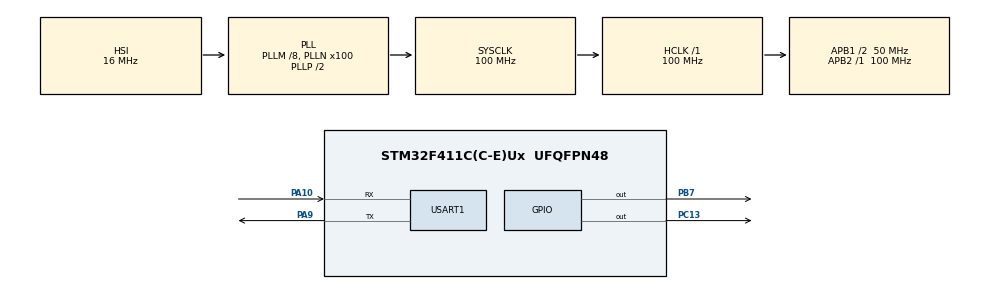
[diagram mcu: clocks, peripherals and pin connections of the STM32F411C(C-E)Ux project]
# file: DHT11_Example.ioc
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Mcu.Family=STM32F4
Mcu.Name=STM32F411C(C-E)Ux
Mcu.Package=UFQFPN48
NVIC.PriorityGroup=NVIC_PRIORITYGROUP_4
PA10.Mode=Asynchronous
PA10.Signal=USART1_RX
PA13.Mode=Serial_Wire
PA13.Signal=SYS_JTMS-SWDIO
PA14.Mode=Serial_Wire
PA14.Signal=SYS_JTCK-SWCLK
PA9.Mode=Asynchronous
PA9.Signal=USART1_TX
PB7.GPIO_ModeDefaultOutputPP=GPIO_MODE_OUTPUT_PP
PB7.GPIO_PuPd=GPIO_PULLUP
PB7.Signal=GPIO_Output
PC13-ANTI_TAMP.Signal=GPIO_Output
PH0\ -\ OSC_IN.Mode=HSE-External-Oscillator
PH0\ -\ OSC_IN.Signal=RCC_OSC_IN
PH1\ -\ OSC_OUT.Mode=HSE-External-Oscillator
PH1\ -\ OSC_OUT.Signal=RCC_OSC_OUT
ProjectManager.HeapSize=0x200
ProjectManager.StackSize=0x400
ProjectManager.TargetToolchain=STM32CubeIDE
RCC.48MHZClocksFreq_Value=50000000
RCC.AHBFreq_Value=100000000
RCC.APB1CLKDivider=RCC_HCLK_DIV2
RCC.APB1Freq_Value=50000000
RCC.APB1TimFreq_Value=100000000
RCC.APB2Freq_Value=100000000
RCC.APB2TimFreq_Value=100000000
RCC.CortexFreq_Value=100000000
RCC.HCLKFreq_Value=100000000
RCC.HSE_VALUE=25000000
RCC.HSI_VALUE=16000000
RCC.LSE_VALUE=32768
RCC.PLLM=8
RCC.PLLN=100
RCC.SYSCLKFreq_VALUE=100000000
RCC.SYSCLKSource=RCC_SYSCLKSOURCE_PLLCLK
RCC.VCOOutputFreq_Value=200000000
TIM2.Period=0xFFFFFFFF
TIM2.Prescaler=99
USART1.VirtualMode=VM_ASYNC
VP_TIM2_VS_ClockSourceINT.Mode=Internal
board=custom

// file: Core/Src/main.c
/* USER CODE BEGIN Header */
/**
  ******************************************************************************
  * @file           : main.c
  * @brief          : Main program body
  ******************************************************************************
  * @attention
  *
  * Copyright (c) 2026 STMicroelectronics.
  * All rights reserved.
  *
  * This software is licensed under terms that can be found in the LICENSE file
  * in the root directory of this software component.
  * If no LICENSE file comes with this software, it is provided AS-IS.
  *
  ******************************************************************************
  */
/* USER CODE END Header */
#include "main.h"

/* USER CODE BEGIN Includes */
#include "DHT11.h"
#include "ANSII_Codes.h"
#include <stdio.h>
#include <math.h>
/* USER CODE END Includes */

/* USER CODE BEGIN PD */
/* -- Conexión del sensor -- */
#define DHT_PUERTO          GPIOB
#define DHT_PIN             GPIO_PIN_7     /**< Pin de datos del DHT11 */
#define DHT_PIN_LIBRE       GPIO_PIN_14     /**< Pin SIN conectar: el test de timeout lo usa como "sensor ausente" */

/* -- Parámetros de la batería de pruebas -- */
#define DHT_ARRANQUE_MS     1000U      /**< El DHT11 necesita ~1 s tras alimentarse antes de la primera lectura */
#define DHT_PERIODO_MS      DHT11_MIN_INTERVAL_MS  /**< Entre lecturas: por debajo, Get devuelve la caché sin tocar el bus */
#define DHT_MUESTRAS        10U        /**< Lecturas seguidas del test de muestras */
#define DHT_SENTINEL        1000.0f    /**< Fuera de escala: delata campos que Get no escribió */

/* Rango de funcionamiento del DHT11 según datasheet (temperatura: DHT11 nuevos con bit de signo) */
#define DHT_TEMP_MIN        -20.0f
#define DHT_TEMP_MAX        60.0f
#define DHT_HUM_MIN         20.0f
#define DHT_HUM_MAX         90.0f

/* Variación máxima entre dos lecturas separadas DHT_PERIODO_MS (el ambiente cambia despacio);
 * subir si la habitación tiene corrientes de aire o se sopla sobre el sensor */
#define DHT_TEMP_RUIDO      2.0f       /**< [°C] */
#define DHT_HUM_RUIDO       5.0f       /**< [%HR] */
/* USER CODE END PD */

/* USER CODE BEGIN PM */
#define DHT_CHECK(x)  do { if ((x) != DHT11_OK) { Error_Handler(); } } while (0)
/* Para los tests de error: la llamada debe devolver exactamente el estado esperado */
#define DHT_EXPECT(x, st)  do { if ((x) != (st)) { Error_Handler(); } } while (0)

/* USER CODE END PM */

TIM_HandleTypeDef htim2;

UART_HandleTypeDef huart1;

/* USER CODE BEGIN PV */
DHT11_Status_t status;
/* USER CODE END PV */

void SystemClock_Config(void);
static void MX_GPIO_Init(void);
static void MX_USART1_UART_Init(void);
static void MX_TIM2_Init(void);
/* USER CODE BEGIN PFP */
static void DHT11_Centinela(DHT11_Data_t* m);
static void DHT11_Leer(DHT11_Data_t* m);
static void DHT11_CheckSinTocar(const DHT11_Data_t* m);
static void DHT11_Print(const DHT11_Data_t* m);
static void DHT11_TestSuite(void);
static void DHT11_TestPreInit(void);
static void DHT11_TestLectura(void);
static void DHT11_TestMuestras(void);
static void DHT11_TestErrores(void);
static void DHT11_TestTimeout(void);
static void DHT11_TestDeInit(void);
/* USER CODE END PFP */

int main(void)
{

  /* MCU Configuration--------------------------------------------------------*/

  /* Reset of all peripherals, Initializes the Flash interface and the Systick. */
  HAL_Init();

  /* Configure the system clock */
  SystemClock_Config();

  /* Initialize all configured peripherals */
  MX_GPIO_Init();
  MX_USART1_UART_Init();
  MX_TIM2_Init();
  /* USER CODE BEGIN 2 */
  printf(CLEAR_SCREEN CURSOR_HOME COLOR_BOLD COLOR_CYAN "DHT11 TEST" COLOR_RESET "\r\n");
  DHT11_TestPreInit();

  /* La librería arranca el TIM2 (1 MHz, 1 us por cuenta) si aún no está en marcha */
  status = DHT11_Init(&htim2, DHT_PUERTO, DHT_PIN);
  if(status != DHT11_OK)
  {
	  Error_Handler();
  }
  else
  {
	  HAL_GPIO_WritePin(GPIOC, GPIO_PIN_13, GPIO_PIN_RESET);
  }
  HAL_Delay(DHT_ARRANQUE_MS);
  /* USER CODE END 2 */

  /* Infinite loop */
  /* USER CODE BEGIN WHILE */
  while (1)
  {
	  DHT11_TestSuite();
    /* USER CODE END WHILE */

  }
}

void SystemClock_Config(void)
{
  RCC_OscInitTypeDef RCC_OscInitStruct = {0};
  RCC_ClkInitTypeDef RCC_ClkInitStruct = {0};

  /** Configure the main internal regulator output voltage
  */
  __HAL_RCC_PWR_CLK_ENABLE();
  __HAL_PWR_VOLTAGESCALING_CONFIG(PWR_REGULATOR_VOLTAGE_SCALE1);

  /** Initializes the RCC Oscillators according to the specified parameters
  * in the RCC_OscInitTypeDef structure.
  */
  RCC_OscInitStruct.OscillatorType = RCC_OSCILLATORTYPE_HSI;
  RCC_OscInitStruct.HSIState = RCC_HSI_ON;
  RCC_OscInitStruct.HSICalibrationValue = RCC_HSICALIBRATION_DEFAULT;
  RCC_OscInitStruct.PLL.PLLState = RCC_PLL_ON;
  RCC_OscInitStruct.PLL.PLLSource = RCC_PLLSOURCE_HSI;
  RCC_OscInitStruct.PLL.PLLM = 8;
  RCC_OscInitStruct.PLL.PLLN = 100;
  RCC_OscInitStruct.PLL.PLLP = RCC_PLLP_DIV2;
  RCC_OscInitStruct.PLL.PLLQ = 4;
  if (HAL_RCC_OscConfig(&RCC_OscInitStruct) != HAL_OK)
  {
    Error_Handler();
  }

  /** Initializes the CPU, AHB and APB buses clocks
  */
  RCC_ClkInitStruct.ClockType = RCC_CLOCKTYPE_HCLK|RCC_CLOCKTYPE_SYSCLK
                              |RCC_CLOCKTYPE_PCLK1|RCC_CLOCKTYPE_PCLK2;
  RCC_ClkInitStruct.SYSCLKSource = RCC_SYSCLKSOURCE_PLLCLK;
  RCC_ClkInitStruct.AHBCLKDivider = RCC_SYSCLK_DIV1;
  RCC_ClkInitStruct.APB1CLKDivider = RCC_HCLK_DIV2;
  RCC_ClkInitStruct.APB2CLKDivider = RCC_HCLK_DIV1;

  if (HAL_RCC_ClockConfig(&RCC_ClkInitStruct, FLASH_LATENCY_3) != HAL_OK)
  {
    Error_Handler();
  }
}

static void MX_TIM2_Init(void)
{

  TIM_ClockConfigTypeDef sClockSourceConfig = {0};
  TIM_MasterConfigTypeDef sMasterConfig = {0};

  htim2.Instance = TIM2;
  htim2.Init.Prescaler = 99;
  htim2.Init.CounterMode = TIM_COUNTERMODE_UP;
  htim2.Init.Period = 0xFFFFFFFF;
  htim2.Init.ClockDivision = TIM_CLOCKDIVISION_DIV1;
  htim2.Init.AutoReloadPreload = TIM_AUTORELOAD_PRELOAD_DISABLE;
  if (HAL_TIM_Base_Init(&htim2) != HAL_OK)
  {
    Error_Handler();
  }
  sClockSourceConfig.ClockSource = TIM_CLOCKSOURCE_INTERNAL;
  if (HAL_TIM_ConfigClockSource(&htim2, &sClockSourceConfig) != HAL_OK)
  {
    Error_Handler();
  }
  sMasterConfig.MasterOutputTrigger = TIM_TRGO_RESET;
  sMasterConfig.MasterSlaveMode = TIM_MASTERSLAVEMODE_DISABLE;
  if (HAL_TIMEx_MasterConfigSynchronization(&htim2, &sMasterConfig) != HAL_OK)
  {
    Error_Handler();
  }

}

static void MX_USART1_UART_Init(void)
{

  huart1.Instance = USART1;
  huart1.Init.BaudRate = 115200;
  huart1.Init.WordLength = UART_WORDLENGTH_8B;
  huart1.Init.StopBits = UART_STOPBITS_1;
  huart1.Init.Parity = UART_PARITY_NONE;
  huart1.Init.Mode = UART_MODE_TX_RX;
  huart1.Init.HwFlowCtl = UART_HWCONTROL_NONE;
  huart1.Init.OverSampling = UART_OVERSAMPLING_16;
  if (HAL_UART_Init(&huart1) != HAL_OK)
  {
    Error_Handler();
  }

}

static void MX_GPIO_Init(void)
{
  GPIO_InitTypeDef GPIO_InitStruct = {0};

  /* GPIO Ports Clock Enable */
  __HAL_RCC_GPIOC_CLK_ENABLE();
  __HAL_RCC_GPIOH_CLK_ENABLE();
  __HAL_RCC_GPIOA_CLK_ENABLE();
  __HAL_RCC_GPIOB_CLK_ENABLE();

  /*Configure GPIO pin Output Level */
  HAL_GPIO_WritePin(GPIOC, GPIO_PIN_13, GPIO_PIN_RESET);

  /*Configure GPIO pin Output Level */
  HAL_GPIO_WritePin(GPIOB, GPIO_PIN_7, GPIO_PIN_RESET);

  /*Configure GPIO pin : PC13 */
  GPIO_InitStruct.Pin = GPIO_PIN_13;
  GPIO_InitStruct.Mode = GPIO_MODE_OUTPUT_PP;
  GPIO_InitStruct.Pull = GPIO_NOPULL;
  GPIO_InitStruct.Speed = GPIO_SPEED_FREQ_LOW;
  HAL_GPIO_Init(GPIOC, &GPIO_InitStruct);

  /*Configure GPIO pin : PB7 */
  GPIO_InitStruct.Pin = GPIO_PIN_7;
  GPIO_InitStruct.Mode = GPIO_MODE_OUTPUT_PP;
  GPIO_InitStruct.Pull = GPIO_PULLUP;
  GPIO_InitStruct.Speed = GPIO_SPEED_FREQ_LOW;
  HAL_GPIO_Init(GPIOB, &GPIO_InitStruct);

}

/* USER CODE BEGIN 4 */

/* printf por USART1 (PA9): syscalls.c redirige _write a esta función débil */
int __io_putchar(int ch)
{
	uint8_t c = (uint8_t)ch;
	HAL_UART_Transmit(&huart1, &c, 1, HAL_MAX_DELAY);
	return ch;
}

/* Rellena la muestra con el centinela para detectar campos que Get no escribió */
static void DHT11_Centinela(DHT11_Data_t* m)
{
	m->temperatura = DHT_SENTINEL;
	m->humedad    = DHT_SENTINEL;
}

/* Lectura completa: debe ir bien, escribir los dos campos y dar valores dentro del rango del
 * sensor. Se escribe como !(v >= min && v <= max) para que un NaN también falle */
static void DHT11_Leer(DHT11_Data_t* m)
{
	DHT11_Centinela(m);
	DHT_CHECK(DHT11_Get(m));

	if (!(m->temperatura >= DHT_TEMP_MIN && m->temperatura <= DHT_TEMP_MAX) ||
		!(m->humedad    >= DHT_HUM_MIN  && m->humedad    <= DHT_HUM_MAX))
	{
		Error_Handler();
	}
}

/* Tras un Get rechazado la muestra debe seguir intacta */
static void DHT11_CheckSinTocar(const DHT11_Data_t* m)
{
	if (m->temperatura != DHT_SENTINEL || m->humedad != DHT_SENTINEL)
	{
		Error_Handler();
	}
}

/* El proyecto no enlaza -u _printf_float: se imprime en décimas con enteros
 * (el DHT11 resuelve 0.1; la temperatura puede ser negativa, la humedad no) */
static void DHT11_Print(const DHT11_Data_t* m)
{
	const uint32_t t = (uint32_t)(fabsf(m->temperatura) * 10.0f + 0.5f);
	const uint32_t h = (uint32_t)(m->humedad * 10.0f + 0.5f);

	printf("T=%s%lu.%lu C  H=%lu.%lu %%\r\n", (m->temperatura < 0.0f) ? "-" : "",
		   t / 10, t % 10, h / 10, h % 10);
}

static void DHT11_TestSuite(void)
{
	DHT11_TestLectura();
	HAL_Delay(DHT_PERIODO_MS);

	DHT11_TestMuestras();
	HAL_Delay(DHT_PERIODO_MS);

	DHT11_TestErrores();
	HAL_Delay(DHT_PERIODO_MS);

	DHT11_TestTimeout();
	HAL_Delay(DHT_PERIODO_MS);

	DHT11_TestDeInit();
	HAL_Delay(DHT_PERIODO_MS);
}

static void DHT11_TestPreInit(void)
{
	DHT11_Data_t m;

	/* -- Antes de Init: Get devuelve NOT_INITIALIZED sin tocar el bus ni la muestra
	 *    (aunque el puntero sea NULL: la comprobación de inicialización va primero) -- */
	DHT11_Centinela(&m);
	DHT_EXPECT(DHT11_Get(&m), DHT11_NOT_INITIALIZED);
	DHT_EXPECT(DHT11_Get(NULL), DHT11_NOT_INITIALIZED);
	DHT11_CheckSinTocar(&m);
}

static void DHT11_TestLectura(void)
{
	DHT11_Data_t m;

	/* -- Lectura única: temperatura y humedad dentro del rango del DHT11 -- */
	printf(COLOR_YELLOW "[Lectura]" COLOR_RESET "\r\n");
	DHT11_Leer(&m);
	DHT11_Print(&m);

	/* -- Get inmediato (< DHT11_MIN_INTERVAL_MS): no toca el bus, devuelve al instante
	 *    la misma medición guardada -- */
	DHT11_Data_t r;
	const uint32_t t0 = HAL_GetTick();
	DHT11_Leer(&r);
	if (r.temperatura != m.temperatura || r.humedad != m.humedad || HAL_GetTick() - t0 > 1U)
	{
		Error_Handler();
	}
}

static void DHT11_TestMuestras(void)
{
	DHT11_Data_t m, ant = {0};

	/* -- Lecturas seguidas cada DHT_PERIODO_MS: ninguna debe fallar (checksum incluido) y
	 *    entre dos consecutivas el ambiente no puede haber cambiado más que el ruido tolerado.
	 *    Un soplido sobre el sensor sube la humedad: no lo hagas durante el test -- */
	printf(COLOR_YELLOW "[Muestras]" COLOR_RESET "\r\n");
	for (uint8_t i = 1; i <= DHT_MUESTRAS; i++)
	{
		DHT11_Leer(&m);
		if (i > 1 && (fabsf(m.temperatura - ant.temperatura) > DHT_TEMP_RUIDO ||
					  fabsf(m.humedad - ant.humedad) > DHT_HUM_RUIDO))
		{
			Error_Handler();
		}
		printf("%2u/%u  ", i, DHT_MUESTRAS);
		DHT11_Print(&m);
		ant = m;
		HAL_Delay(DHT_PERIODO_MS);
	}
}

static void DHT11_TestErrores(void)
{
	DHT11_Data_t m;
	TIM_HandleTypeDef sin_instancia = {0};

	/* -- Puntero de salida NULL, y Init con timer, instancia, puerto NULL o pin 0: se rechazan
	 *    con INVALID_PARAM sin tocar el bus ni la configuración vigente -- */
	printf(COLOR_YELLOW "[Errores]" COLOR_RESET "\r\n");
	DHT11_Centinela(&m);
	DHT_EXPECT(DHT11_Get(NULL), DHT11_INVALID_PARAM);
	DHT_EXPECT(DHT11_Init(NULL, DHT_PUERTO, DHT_PIN), DHT11_INVALID_PARAM);
	DHT_EXPECT(DHT11_Init(&sin_instancia, DHT_PUERTO, DHT_PIN), DHT11_INVALID_PARAM);
	DHT_EXPECT(DHT11_Init(&htim2, NULL, DHT_PIN), DHT11_INVALID_PARAM);
	DHT_EXPECT(DHT11_Init(&htim2, DHT_PUERTO, 0U), DHT11_INVALID_PARAM);
	DHT11_CheckSinTocar(&m);

	/* El driver conserva la configuración anterior y sigue leyendo */
	DHT11_Leer(&m);
	printf(COLOR_GREEN "Errores OK" COLOR_RESET "\r\n");
}

static void DHT11_TestTimeout(void)
{
	DHT11_Data_t m;

	/* -- Sensor ausente: apuntando a un pin libre (pull-up, siempre en alto) el sensor nunca
	 *    responde y Get debe agotar el tiempo con TIMEOUT sin escribir la muestra.
	 *    También prueba que Init descarta la caché: si no, Get devolvería OK con la medición
	 *    del pin anterior -- */
	printf(COLOR_YELLOW "[Timeout]" COLOR_RESET "\r\n");
	DHT11_Centinela(&m);
	DHT_CHECK(DHT11_Init(&htim2, DHT_PUERTO, DHT_PIN_LIBRE));
	DHT_EXPECT(DHT11_Get(&m), DHT11_TIMEOUT);
	DHT11_CheckSinTocar(&m);

	/* -- Volver al pin real: Init reconfigura el driver y la lectura vuelve a funcionar -- */
	DHT_CHECK(DHT11_Init(&htim2, DHT_PUERTO, DHT_PIN));
	DHT11_Leer(&m);
	printf(COLOR_GREEN "Timeout OK" COLOR_RESET "\r\n");
}

static void DHT11_TestDeInit(void)
{
	DHT11_Data_t m;

	/* -- DeInit libera el driver: Get debe devolver NOT_INITIALIZED sin tocar el bus
	 *    ni la muestra. Repetirlo sigue devolviendo OK -- */
	printf(COLOR_YELLOW "[DeInit]" COLOR_RESET "\r\n");
	DHT11_Centinela(&m);
	DHT_CHECK(DHT11_DeInit());
	DHT_CHECK(DHT11_DeInit());
	DHT_EXPECT(DHT11_Get(&m), DHT11_NOT_INITIALIZED);
	DHT11_CheckSinTocar(&m);

	/* -- Re-Init tras DeInit: el driver debe poder arrancar de nuevo -- */
	DHT_CHECK(DHT11_Init(&htim2, DHT_PUERTO, DHT_PIN));
	DHT11_Leer(&m);
	HAL_Delay(DHT_PERIODO_MS);

	/* -- Init sobre un driver ya inicializado (el timer sigue en marcha) también se acepta -- */
	DHT_CHECK(DHT11_Init(&htim2, DHT_PUERTO, DHT_PIN));
	DHT11_Leer(&m);
	DHT11_Print(&m);
	printf(COLOR_GREEN "DeInit OK" COLOR_RESET "\r\n");
}

/* USER CODE END 4 */

void Error_Handler(void)
{
  /* USER CODE BEGIN Error_Handler_Debug */
  /* User can add his own implementation to report the HAL error return state */
  /* Si la UART aún no está inicializada, HAL_UART_Transmit devuelve BUSY sin bloquear */
  printf(COLOR_BOLD COLOR_RED "\r\nERROR: prueba fallida" COLOR_RESET "\r\n");
  while (1)
  {
	  HAL_GPIO_TogglePin(GPIOC, GPIO_PIN_13);
	  HAL_Delay(200);
  }
  /* USER CODE END Error_Handler_Debug */
}
